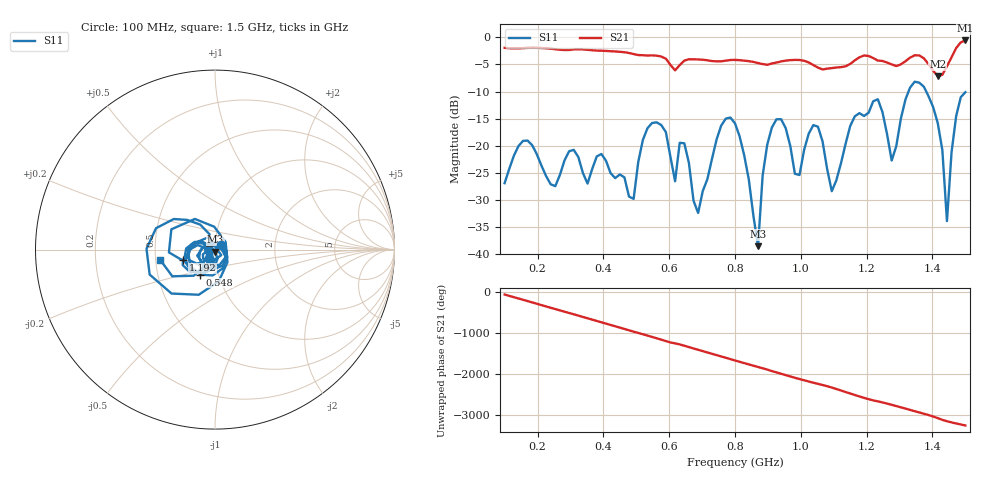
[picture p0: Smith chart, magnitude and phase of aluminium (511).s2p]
! NanoVNA-App
! Date: 2025-09-25 14:59:15
! Start: 100MHz Stop: 1,5GHz Points: 101
! S-Parameter data: F S11 S21 S12 S22
# Hz S RI R 50
!  Frequency  S11_Real  S11_Imag  S21_Real  S21_Imag  S12_Real  S12_Imag  S22_Real  S22_Imag
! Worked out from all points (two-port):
!   101 points, 100 MHz to 1.5 GHz, reference 50 ohm
!   highest |S21| = -0.55 dB at 1.5 GHz (marker M1); lowest = -7.2 dB at 1.416 GHz (marker M2)
!   |S21| within 3 dB of the highest: start of sweep to 576.8 MHz; 1.459 GHz to end of sweep (the widest 2 of 4)
!   lowest |S11| = -38.6 dB at 870 MHz (marker M3), VSWR 1.02, Z = 50.2 - j1.16 ohm
!   |S11| at or under -10 dB: start of sweep to 1.327 GHz; 1.381 GHz to end of sweep
!   S12 and S22 are empty: the file has one direction only
!   S11 on the Smith chart (normalised r, x): 100 MHz: 1.07, +0.06; 548 MHz: 0.82, -0.23; 1.192 GHz: 0.69, -0.08; 1.5 GHz: 0.53, -0.06
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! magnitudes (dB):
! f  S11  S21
! 100 MHz  -27.0  -1.9
! 156 MHz  -19.1  -2.0
! 338 MHz  -25.1  -2.2
! 492 MHz  -29.9  -3.1
! 548 MHz  -15.8  -3.3
! 576 MHz  -16.2  -3.5
! 646 MHz  -19.6  -4.3
! 688 MHz  -32.5  -4.1
! 800 MHz  -15.9  -4.1
! 870 MHz  -38.6  -4.7
! 912 MHz  -16.7  -4.8
! 996 MHz  -25.4  -4.2
! 1.038 GHz  -16.2  -5.1
! 1.094 GHz  -28.4  -5.7
! 1.192 GHz  -14.5  -3.3
! 1.234 GHz  -11.4  -4.3
! 1.276 GHz  -22.8  -5.0
! 1.346 GHz  -8.2  -3.3
! 1.416 GHz  -15.8  -7.2
! 1.444 GHz  -34.0  -5.3
! 1.472 GHz  -14.5  -2.0
! 1.5 GHz  -10.1  -0.6
